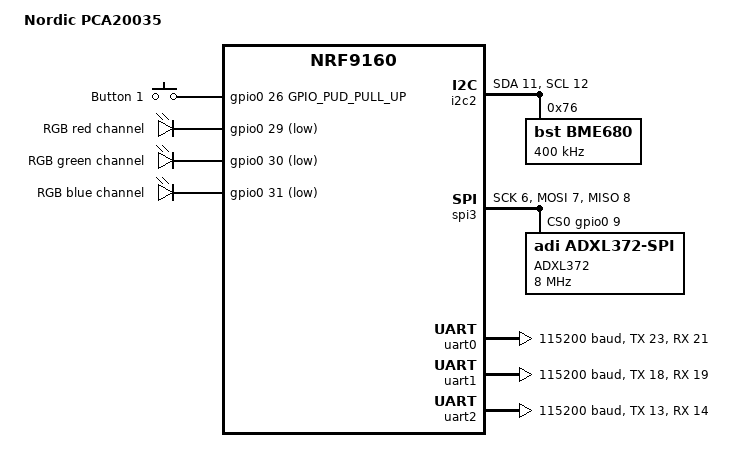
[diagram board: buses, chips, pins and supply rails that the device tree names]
/*
 * Copyright (c) 2018 Nordic Semiconductor ASA
 *
 * SPDX-License-Identifier: Apache-2.0
 */

/ {
	model = "Nordic PCA20035";
	compatible = "nordic,pca20035", "nordic,nrf9160-sica",
		     "nordic,nrf9160";

	chosen {
		zephyr,console = &uart0;
	};

	buttons {
		compatible = "gpio-keys";
		#address-cells = <1>;
		#size-cells = <0>;

		button0: button_0 {
			gpios = <&gpio0 26 GPIO_PUD_PULL_UP>;
			label = "Button 1";
		};
	};

	leds {
		compatible = "gpio-leds";
		red_led: led_1 {
			gpios = <&gpio0 29 GPIO_INT_ACTIVE_LOW>;
			label = "RGB red channel";
		};
		green_led: led_2 {
			gpios = <&gpio0 30 GPIO_INT_ACTIVE_LOW>;
			label = "RGB green channel";
		};
		blue_led: led_3 {
			gpios = <&gpio0 31 GPIO_INT_ACTIVE_LOW>;
			label = "RGB blue channel";
		};
	};

	aliases {
		sw0 = &button0;
		led0 = &red_led;
		led1 = &green_led;
		led2 = &blue_led;
	};
};

&gpiote {
	status = "ok";
};

&gpio0 {
	status = "ok";
};

&i2c2 {
	status = "ok";
	sda-pin = <11>;
	scl-pin = <12>;

	bme680@0 {
		compatible = "bst,bme680";
		label = "BME680";
		reg = <0x76>;
		clock-frequency = <I2C_BITRATE_FAST>;
	};
};

&spi3 {
	status = "ok";
	sck-pin = <6>;
	mosi-pin = <7>;
	miso-pin = <8>;
	cs-gpios = <&gpio0 9 0>;

	adxl372-spi@0 {
		compatible = "adi,adxl372-spi";
		label = "ADXL372";
		spi-max-frequency = <8000000>;
		reg = <0>;
	};
};

&uart0 {
	current-speed = <115200>;
	status = "ok";
	tx-pin = <23>;
	rx-pin = <21>;
	rts-pin = <24>;
	cts-pin = <25>;
};

&uart1 {
	current-speed = <115200>;
	status = "ok";
	tx-pin = <18>;
	rx-pin = <19>;
	rts-pin = <22>;
	cts-pin = <20>;
};


&uart2 {
	current-speed = <115200>;
	status = "ok";
	tx-pin = <13>;
	rx-pin = <14>;
	rts-pin = <15>;
	cts-pin = <16>;
};


&flash0 {
	/*
	 * For more information, see:
	 * http://docs.zephyrproject.org/devices/dts/flash_partitions.html
	 */
	partitions {
		compatible = "fixed-partitions";
		#address-cells = <1>;
		#size-cells = <1>;

		boot_partition: partition@0 {
			label = "mcuboot";
			reg = <0x00000000 0x10000>;
		};
		slot0_partition: partition@10000 {
			label = "image-0";
		};
		slot0_ns_partition: partition@40000 {
			label = "image-0-nonsecure";
		};
		slot1_partition: partition@80000 {
			label = "image-1";
		};
		slot1_ns_partition: partition@b0000 {
			label = "image-1-nonsecure";
		};
		scratch_partition: partition@f0000 {
			label = "image-scratch";
			reg = <0x000f0000 0xa000>;
		};
		storage_partition: partition@fa000 {
			label = "storage";
			reg = <0x000fa000 0x00006000>;
		};
	};
};

/ {
	/* SRAM allocated and used by the BSD library */
	sram0_bsd: memory@20010000 {
		device_type = "memory";
		compatible = "mmio-sram";
	};

	/* SRAM allocated to the Non-Secure image */
	sram0_ns: memory@20020000 {
		device_type = "memory";
		compatible = "mmio-sram";
	};
};

/* Include partition configuration file */
#include "nrf9160_pca20035_partition_conf.dts"
